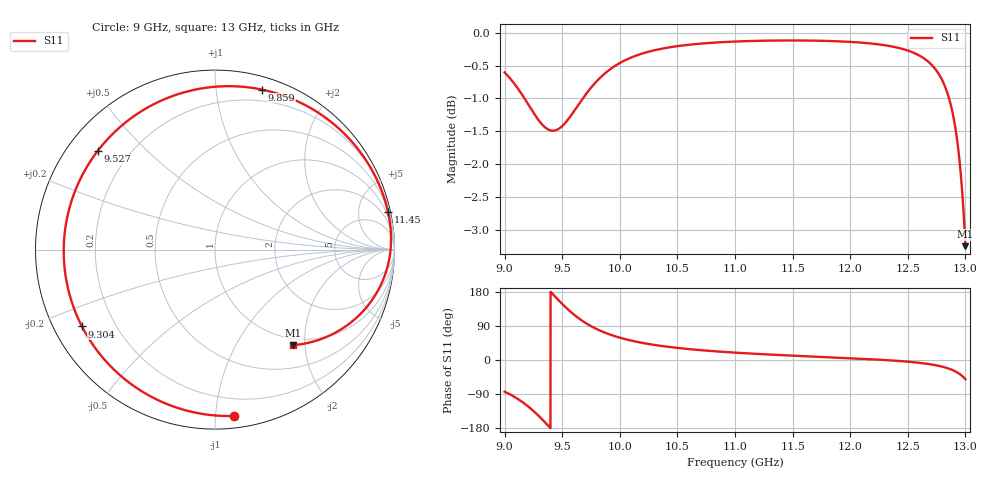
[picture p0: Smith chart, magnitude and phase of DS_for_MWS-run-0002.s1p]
! TOUCHSTONE file generated by CST DESIGN STUDIO
! Date and time: Tue Feb  4 18:13:19 2025
! Project name: C:\Work\MatlabApps\UnitCellOptimizationMatlab\CST\unitcell.cst
! Tree item: Tasks\Sweep1\SPara1\S-Parameters
! Header version: 2024
! Port assignment regex: !\s*Touchstone port\s*([0-9]+)\s*=\s*(CST MWS port|CST DES external port|CST DES block port)\s*(.+)\s* \(\"(.*)\"\)(\s*mode\s*([0-9]+))?.*
! Touchstone port assignment:
! Touchstone port 1 = CST DES external port 1 ("")
# GHz S MA R 50
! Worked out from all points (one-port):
!   4001 points, 9 GHz to 13 GHz, reference 50 ohm
!   lowest |S11| = -3.2 dB at 13 GHz (marker M1), VSWR 5.42, Z = 43.8 - j88.6 ohm
!   |S11| at or under -10 dB: nowhere
!   S11 on the Smith chart (normalised r, x): 9 GHz: 0.08, -1.12; 9.304 GHz: 0.08, -0.27; 9.527 GHz: 0.09, +0.36; 9.859 GHz: 0.10, +1.33; 11.45 GHz: 0.61, +9.32; 13 GHz: 0.88, -1.77
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9  0.9328 -83.5
9.09  0.9132 -98.1
9.165  0.8935 -113.3
9.235  0.8737 -130.4
9.304  0.8561 -150.0
9.354  0.847 -165.5
9.402  0.8428 179.0
9.449  0.8435 163.8
9.5  0.8493 147.9
9.527  0.8541 139.9
9.597  0.8703 121.0
9.671  0.8894 104.1
9.755  0.9093 88.5
9.859  0.9292 73.6
10  0.9482 58.9
10.101  0.9576 51.1
10.216  0.9653 44.0
10.5  0.9766 31.9
11  0.9845 19.4
11.451  0.9864 12.2
11.5  0.9864 11.5
12  0.9839 4.7
12.5  0.9691 -4.5
12.706  0.9454 -11.9
12.836  0.9038 -20.7
12.883  0.874 -25.8
12.923  0.8353 -31.7
13  0.6885 -50.6
